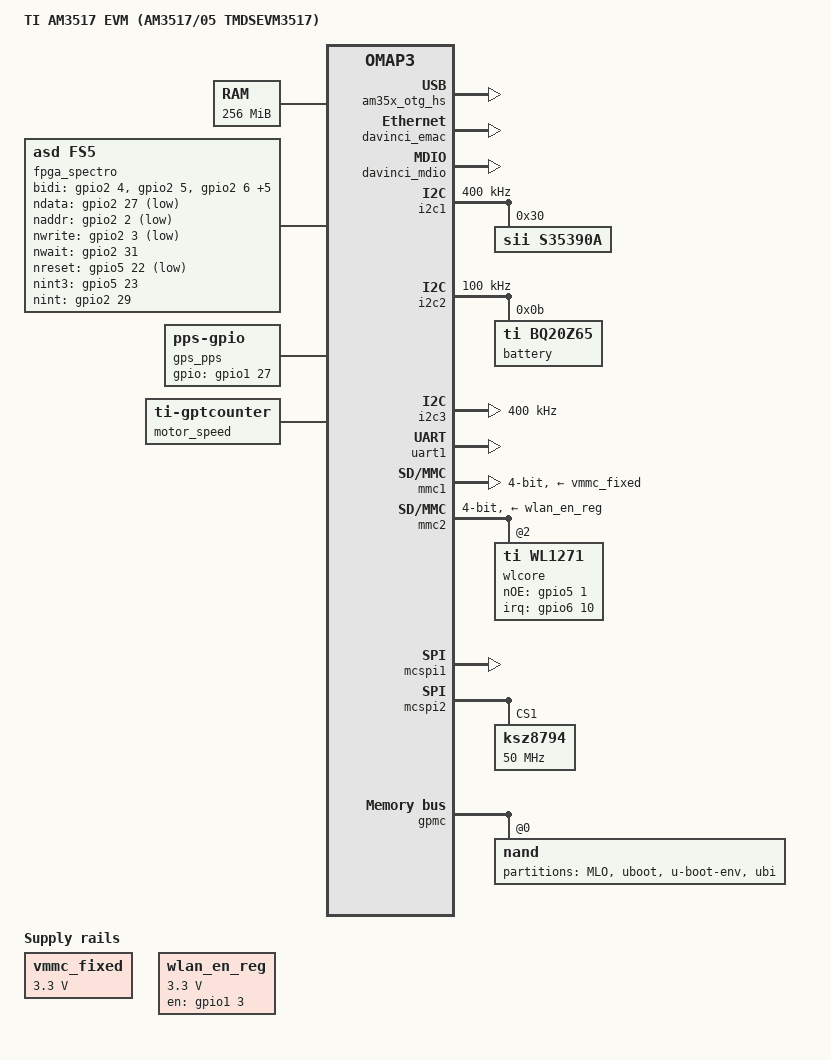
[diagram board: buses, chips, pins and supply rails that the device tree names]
/*
 * Copyright (C) 2011 Texas Instruments Incorporated - http://www.ti.com/
 *
 * This program is free software; you can redistribute it and/or modify
 * it under the terms of the GNU General Public License version 2 as
 * published by the Free Software Foundation.
 */
/dts-v1/;

#include "am3517.dtsi"

/ {
	model = "TI AM3517 EVM (AM3517/05 TMDSEVM3517)";
	compatible = "asd,fs5-am3517", "ti,am3517", "ti,omap3";

    vmmc_fixed: vmmc {
        compatible = "regulator-fixed";
        regulator-name = "vmmc_fixed";
        regulator-min-microvolt = <3300000>;
        regulator-max-microvolt = <3300000>;
    };

	memory {
		device_type = "memory";
		reg = <0x80000000 0x10000000>; /* 256 MB */
	};

    wlan_en_reg: fixedregulator@2 {
        compatible = "regulator-fixed";
        regulator-name = "wlan-en-regulator";
        regulator-min-microvolt = <3300000>;
        regulator-max-microvolt = <3300000>;

        /*GPIO3 pin that drives WLAN_EN*/
        gpio = <&gpio1 3 0>;

        startup-delay-us = <70000>;
        enable-active-high;
    };

    fpga_spectro: fpga_spectro {
        compatible = "asd,fs5";

        pinctrl-names = "default";
        pinctrl-0 = <&fpga_pins>;

        bidi-gpios = <&gpio2 4 0
                      &gpio2 5 0
                      &gpio2 6 0
                      &gpio2 7 0
                      &gpio2 8 0
                      &gpio2 9 0
                      &gpio2 10 0
                      &gpio2 11 0>;
        ndata-gpios = <&gpio2 27 GPIO_ACTIVE_LOW>;
        naddr-gpios = <&gpio2 2 GPIO_ACTIVE_LOW>;
        nwrite-gpios = <&gpio2 3 GPIO_ACTIVE_LOW>;
        nwait-gpios = <&gpio2 31 0>;
        nreset-gpios = <&gpio5 22 GPIO_ACTIVE_LOW>;
        nint3-gpios = <&gpio5 23 0>;
        nint-gpios = <&gpio2 29 0>;
    };

    gps_pps: gps_pps {
        compatible = "pps-gpio";
        gpios = <&gpio1 27 0>;

        pinctrl-names = "default";
        pinctrl-0 = <&gps_pps_pin>;

        assert-falling-edge;
    };

    motor_speed: motor_speed {
        compatible = "ti-gptcounter";        

        pinctrl-names = "default";
        pinctrl-0 = <&motor_fg>;

        gptimer = <&timer10>;
        pp-rev = <2>;
    };
};

&omap3_pmx_wkup {
    wl12xx_wkup_pins: pinmux_wl12xx_wkup_pins {
        pinctrl-single,pins = <
            0x00c (PIN_OUTPUT | MUX_MODE4)       /*sys_boot1.gpio_3 - WLAN_EN*/ 
            0x010 (PIN_INPUT_PULLUP | MUX_MODE4)       /*sys_boot1.gpio_5 - SCL*/
            0x016 (PIN_INPUT_PULLUP | MUX_MODE4)       /*sys_boot1.gpio_8 - SDA*/
        >;
    };
};

&omap3_pmx_core {
    pinctrl-names = "default";
    pinctrl-0 = <&trigger>, <&optimize>;

    otg_drv_vbus: pinmux_otg_drv_vbus {
        pinctrl-single,pins = <
            0x212 (PIN_OUTPUT | MUX_MODE0)  /* usb0_drvvbus.usb0_drvvbus */
        >;
    };

    i2c1_pins: pinmux_i2c1_pins {
        pinctrl-single,pins = <
            0x18a (PIN_INPUT | MUX_MODE0)   /* i2c1_scl.i2c1_scl */
            0x18c (PIN_INPUT | MUX_MODE0)   /* i2c1_sda.i2c1_sda */
        >;
    };

    i2c2_pins: pinmux_i2c2_pins {
        pinctrl-single,pins = <
            0x18e (PIN_INPUT | MUX_MODE0)   /* i2c2_scl.i2c2_scl */
            0x190 (PIN_INPUT | MUX_MODE0)   /* i2c2_sda.i2c2_sda */
        >;
    };

    i2c3_pins: pinmux_i2c3_pins {
        pinctrl-single,pins = <
            0x192 (PIN_INPUT | MUX_MODE0)    /* i2c3_scl.i2c3_scl */
            0x194 (PIN_INPUT | MUX_MODE0)    /* i2c3_sda.i2c3_sda */
        >;
    };

    mmc2_pins: pinmux_mmc2_pins {
        pinctrl-single,pins = <
            0x128 (PIN_INPUT_PULLUP | MUX_MODE0)	/* sdmmc2_clk.sdmmc2_clk */
            0x12a (PIN_INPUT_PULLUP | MUX_MODE0)	/* sdmmc2_cmd.sdmmc2_cmd */
            0x12c (PIN_INPUT_PULLUP | MUX_MODE0)	/* sdmmc2_dat0.sdmmc2_dat0 */
            0x12e (PIN_INPUT_PULLUP | MUX_MODE0)	/* sdmmc2_dat1.sdmmc2_dat1 */
            0x130 (PIN_INPUT_PULLUP | MUX_MODE0)	/* sdmmc2_dat2.sdmmc2_dat2 */
            0x132 (PIN_INPUT_PULLUP | MUX_MODE0)	/* sdmmc2_dat3.sdmmc2_dat3 */
            0x134 (PIN_INPUT_PULLUP | MUX_MODE1)     /* sdmmc2_dat4.sdmmc2_dir_dat0 */
            0x136 (PIN_INPUT_PULLUP | MUX_MODE1)     /* sdmmc2_dat5.sdmmc2_dir_dat1 */
            0x138 (PIN_INPUT_PULLUP | MUX_MODE1)     /* sdmmc2_dat6.sdmmc2_dir_cmd */
            0x13a (PIN_INPUT_PULLUP | MUX_MODE1)     /* sdmmc2_dat7.sdmmc2_clkin */
        >;
    };

    wl12xx_core_pins: pinmux_wl12xx_core_pins {
		pinctrl-single,pins = <
			0x196 (PIN_INPUT_PULLUP | MUX_MODE4)	 /* hdq_sio.gpio_170 - WLAN_IRQ*/
            0x126 (PIN_OUTPUT_PULLDOWN | MUX_MODE4)  /* sdmmc1_dat7.gpio_129 - WLAN_nOE */
		>;
	};
    
    fpga_pins: pinmux_fpga_pins {
        pinctrl-single,pins = <
            0x04e (PIN_INPUT | MUX_MODE4)           /* gpmc_a3.gpio_36 - BiDi[0] */
            0x050 (PIN_INPUT | MUX_MODE4)           /* gpmc_a4.gpio_37 - BiDi[1] */
            0x052 (PIN_INPUT | MUX_MODE4)           /* gpmc_a5.gpio_38 - BiDi[2] */
            0x054 (PIN_INPUT | MUX_MODE4)           /* gpmc_a6.gpio_39 - BiDi[3] */
            0x056 (PIN_INPUT | MUX_MODE4)           /* gpmc_a7.gpio_40 - BiDi[4] */
            0x058 (PIN_INPUT | MUX_MODE4)           /* gpmc_a8.gpio_41 - BiDi[5] */
            0x05a (PIN_INPUT | MUX_MODE4)           /* gpmc_a9.gpio_42 - BiDi[6] */
            0x05c (PIN_INPUT | MUX_MODE4)           /* gpmc_a10.gpio_43 - BiDi[7] */

            0x04c (PIN_OUTPUT_PULLUP | MUX_MODE4)   /* gpmc_a2.gpio_35 - nWRITE_STROBE */
            0x04a (PIN_OUTPUT_PULLUP | MUX_MODE4)   /* gpmc_a1.gpio_34 - nADDR_STROBE */
            0x08e (PIN_OUTPUT_PULLUP | MUX_MODE4)   /* gpmc_clk.gpio_59 - nDATA_STROBE */
            0x09e (PIN_INPUT | MUX_MODE4)           /* gpmc_wait1.gpio_63 - nWAIT */
            0x110 (PIN_OUTPUT_PULLUP | MUX_MODE4)   /* mcbsp2_dr.gpio_118 - nFGPA_RESET */            
            0x098 (PIN_INPUT | MUX_MODE4)           /* gpmc_nbe1.gpio_61 - INTERRUPT */
        >;
    };

    uart1_pins: pinmux_uart1_pins {
        pinctrl-single,pins = <
            0x14c (PIN_OUTPUT | MUX_MODE0)  		/* uart1_tx.uart1_tx */
            0x152 (PIN_INPUT | MUX_MODE0)  			/* uart1_rx.uart1_rx */
        >;
    };

	mcspi1_pins: pinmux_mcspi1_pins {
		pinctrl-single,pins = <
			0x198 (PIN_INPUT_PULLUP | MUX_MODE0) 	/* mcspi1_clk.mcspi1_clk */
			0x19a (PIN_INPUT_PULLUP | MUX_MODE0)	/* mcspi1_simo.mcspi1_simo */
			0x19c (PIN_INPUT_PULLUP | MUX_MODE0)	/* mcspi1_somi.mcspi1_somi */
            0x19e (PIN_INPUT_PULLUP | MUX_MODE0)    /* mcspi1_cs0.mcspi1_cs0 */
			0x1a0 (PIN_INPUT_PULLUP | MUX_MODE0)	/* mcspi1_cs1.mcspi1_cs1 */
			0x1a2 (PIN_INPUT_PULLUP | MUX_MODE0)	/* mcspi1_cs2.mcspi1_cs2 */
            0x1a4 (PIN_INPUT_PULLUP | MUX_MODE0)    /* mcspi1_cs3.mcspi1_cs3 */
		>;
	};

    mcspi2_pins: pinmux_mcspi2_pins {
        pinctrl-single,pins = <
            0x1a6 (PIN_INPUT_PULLUP | MUX_MODE0)    /* mcspi2_clk.mcspi2_clk */
            0x1a8 (PIN_INPUT_PULLUP | MUX_MODE0)    /* mcspi2_simo.mcspi2_simo */
            0x1aa (PIN_INPUT_PULLUP | MUX_MODE0)    /* mcspi2_somi.mcspi2_somi */
            0x1ac (PIN_INPUT_PULLUP | MUX_MODE0)    /* mcspi2_cs0.mcspi2_cs0 */
            0x1ae (PIN_INPUT_PULLUP | MUX_MODE0)    /* mcspi2_cs1.mcspi2_cs1 */
        >;
    };

    motor_fg: pinxmux_motor_fg {
        pinctrl-single,pins = <
            0x084 (PIN_INPUT | MUX_MODE2)          /* gpmc_ncs3.gpt10_pwm_evt - MOT_FG_3V3 */
        >;
    };

    motor_spd_pwm: pinmux_motor_spd {
        pinctrl-single,pins = <
            0x082 (PIN_OUTPUT | MUX_MODE2)           /* gpmc_ncs2.gpt9_pwm_evt - MOT_SPD_PWM */
        >;
    };

    trigger: pinmux_trigger {
        pinctrl-single,pins = <
            0x1b0 (PIN_INPUT | MUX_MODE4)           /* sys_nirq.gpio_0 - TRIGGER */
        >;
    };

    optimize: pinmux_optimize {
        pinctrl-single,pins = <
            0x1e4 (PIN_INPUT | MUX_MODE4)           /* hecc1_txd.gpio_130 - OPTIMIZE */
        >;
    };
};

&omap3_pmx_core2 {
    pinctrl-names = "default";
    pinctrl-0 = <&white_ref>;

    gps_pps_pin: pinmux_gps_pps {
        pinctrl-single,pins = <
            /* 0x25f6 - 0x25d8 = 0x01e */
            0x01e (PIN_INPUT | MUX_MODE4)           /* etk_d13.gpio_27 - GPS_PPS */
        >;
    };

    white_ref: pinmux_white_ref {
        pinctrl-single,pins = <
            0x020 (PIN_INPUT | MUX_MODE4)           /* etk_d14.gpio_28 - WHT_REF */
        >;
    };
};

&am35x_otg_hs {
    status = "okay";
    pinctrl-names = "default";
    pinctrl-0 = <&otg_drv_vbus>;
    clocks = <&hsotgusb_ick_am35xx>, <&hsotgusb_fck_am35xx>;
    clock-names = "hsotgusb_ick", "hsotgusb_fck";
    compatible = "ti,am35x-musb";
};

&usbhshost {
    /* Will be initialized in pdata-quirks */
    status = "disabled";
};

&usbhstll {
    status = "disabled";
};

/*&aes {
    status = "disabled";
};

&sham {
    status = "disabled";
};

&smartreflex_core {
    status = "disabled";
};*/

&usb_otg_hs {
    status = "disabled";
};

&davinci_emac {
	status = "okay";
};

&davinci_mdio {
	status = "okay";
};

&i2c1 {
	clock-frequency = <400000>;

    pinctrl-names = "default";
    pinctrl-0 = <&i2c1_pins>;

    status = "okay";

    s35390a: s35390a@30 {
         compatible = "sii,s35390a";
         reg = <0x30>;
    };
};

&i2c2 {
	clock-frequency = <100000>;

    pinctrl-names = "default";
    pinctrl-0 = <&i2c2_pins>;

    status = "okay";

    battery: sbs-battery@b {
        compatible = "ti,bq20z65", "sbs,sbs-battery";
        reg = <0xb>;
        battery-name = "battery";
        sbs,poll-retry-count = <2>;
        sbs,i2c-retry-count = <100>;
    };
};

&i2c3 {
	clock-frequency = <400000>;

    pinctrl-names = "default";
    pinctrl-0 = <&i2c3_pins>;

    status = "okay";
};

&uart1 {
    status = "okay";
    pinctrl-names = "default";
    pinctrl-0 = <&uart1_pins>;
};

&mmc1 {
    vmmc-supply = <&vmmc_fixed>;
	bus-width = <4>;
};

&mmc2 {
    status = "okay";
    ti,non-removable;
    vmmc-supply = <&wlan_en_reg>;
    bus-width = <4>;
    cap-power-off-card;
    pinctrl-names = "default";
    pinctrl-0 = <&mmc2_pins>, <&wl12xx_core_pins>, <&wl12xx_wkup_pins>;

    #address-cells = <1>;
    #size-cells = <0>;
    wlcore: wlcore@2 {
        compatible = "ti,wl1271";
        nOE = <&gpio5 1 0>;
        reg = <2>;
        interrupt-parent = <&gpio6>;
        interrupts = <10 IRQ_TYPE_LEVEL_HIGH>;
        ref-clock-frequency = <26000000>;
    };
};

&mmc3 {
      status = "disabled";
};

&mcspi1 {
	status = "okay";
	pinctrl-names = "default";
	pinctrl-0 = <&mcspi1_pins>;
};

&mcspi2 {
    status = "okay";
    pinctrl-names = "default";
    pinctrl-0 = <&mcspi2_pins>;

    ksz8794@1 {
        compatible = "ksz8794";
        spi-max-frequency = <50000000>;
        reg = <1>;
    };
};

&gpmc {
	ranges = <0 0 0x00000000 0x20000000>;

	nand@0,0 {
		linux,mtd-name= "micron,nand";
		reg = <0 0 4>;	/* CS0, offset 0, IO size 4 */
		nand-bus-width = <16>;
		gpmc,device-width = <2>;
		ti,nand-ecc-opt = "bch8";

        gpmc,cs-on-ns = <0>;
        gpmc,cs-rd-off-ns = <36>;
        gpmc,cs-wr-off-ns = <36>;

        gpmc,adv-on-ns = <6>;
        gpmc,adv-rd-off-ns = <24>;
        gpmc,adv-wr-off-ns = <36>;

        gpmc,we-on-ns = <6>;
        gpmc,we-off-ns = <30>;

        gpmc,oe-on-ns = <6>;
        gpmc,oe-off-ns = <48>;

        gpmc,page-burst-access-ns = <6>;
        gpmc,access-ns = <54>;
        gpmc,cycle2cycle-delay-ns = <60>;

        gpmc,rd-cycle-ns = <72>;
        gpmc,wr-cycle-ns = <72>;
        gpmc,wr-access-ns = <30>;
        gpmc,wr-data-mux-bus-ns = <0>;

		#address-cells = <1>;
		#size-cells = <1>;

		partition@0 {
			label = "MLO";
			reg = <0 0x20000>;
		};
		partition@0x20000 {
			label = "uboot";
			reg = <0x20000 0x100000>;
		};
		partition@0x120000 {
			label = "u-boot-env";
			reg = <0x120000 0x40000>;
		};
		partition@0x160000 {
			label = "ubi";
			reg = <0x160000 0x1FEA0000>;
		};
	};

};
